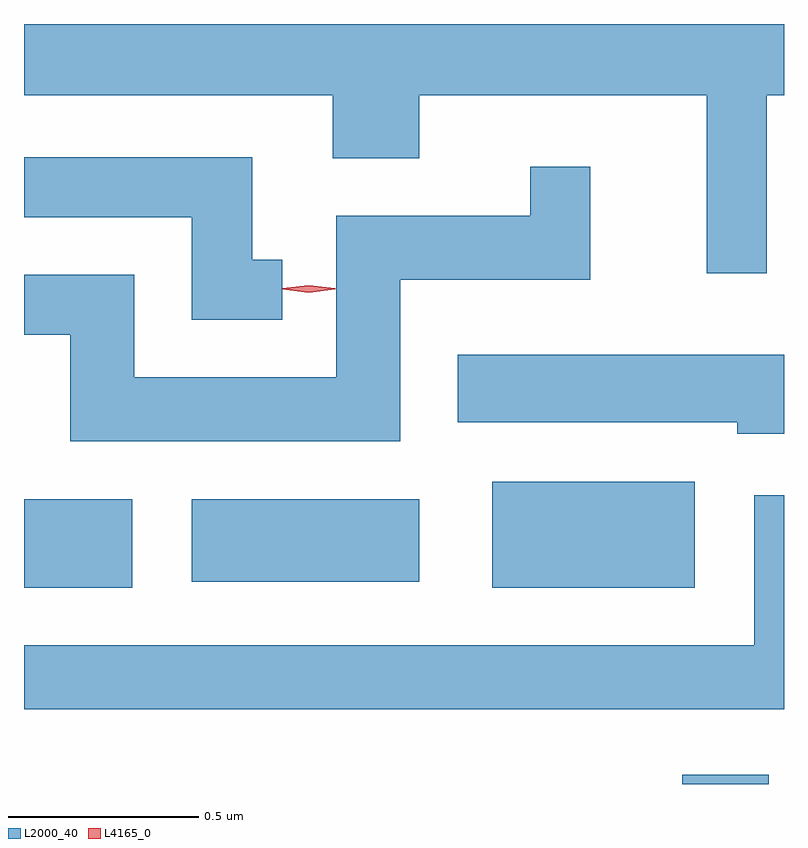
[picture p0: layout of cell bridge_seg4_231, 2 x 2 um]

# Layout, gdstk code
import gdstk
lib = gdstk.Library(unit=1e-6, precision=1e-09)
def R(c, l, rs):  # rectangles x0, y0, x1, y1
    for r in rs: c.add(gdstk.rectangle(r[:2], r[2:], *l))
def P(c, l, *ps):  # polygons
    for p in ps: c.add(gdstk.Polygon(p, *l))
L2000_40 = (2000, 40)
L4165_0 = (4165, 0)

bridge_seg4_231 = lib.new_cell('bridge_seg4_231')
R(bridge_seg4_231, L2000_40, [(1072.781,1268.504,1073.009,1268.529), (1071.049,1269.021,1071.334,1269.254), (1072.281,1269.021,1072.814,1269.299), (1071.491,1269.036,1072.089,1269.254)])
P(bridge_seg4_231, L2000_40, [(1073.004,1270.316),(1073.049,1270.316),(1073.049,1270.504),(1071.049,1270.504),(1071.049,1270.316),(1071.861,1270.316),(1071.861,1270.151),(1072.089,1270.151),(1072.089,1270.316),(1072.846,1270.316),(1072.846,1269.848),(1073.004,1269.848)],
  [(1071.728,1269.884),(1071.649,1269.884),(1071.649,1270.154),(1071.049,1270.154),(1071.049,1269.996),(1071.491,1269.996),(1071.491,1269.726),(1071.728,1269.726)],
  [(1072.039,1269.831),(1072.539,1269.831),(1072.539,1270.128),(1072.381,1270.128),(1072.381,1269.999),(1071.871,1269.999),(1071.871,1269.574),(1071.339,1269.574),(1071.339,1269.844),(1071.049,1269.844),(1071.049,1269.686),(1071.171,1269.686),(1071.171,1269.406),(1072.039,1269.406)],
  [(1073.049,1269.634),(1072.191,1269.634),(1072.191,1269.456),(1072.926,1269.456),(1072.926,1269.426),(1073.049,1269.426)],
  [(1073.049,1269.264),(1072.971,1269.264),(1072.971,1268.869),(1071.049,1268.869),(1071.049,1268.701),(1073.049,1268.701)])
P(bridge_seg4_231, L4165_0, [(1071.798,1269.797),(1071.729,1269.806),(1071.729,1269.807),(1071.729,1269.808),(1071.798,1269.817),(1071.868,1269.808),(1071.868,1269.807),(1071.868,1269.806)])

lib.write_gds('bridge_seg4_231.gds')
